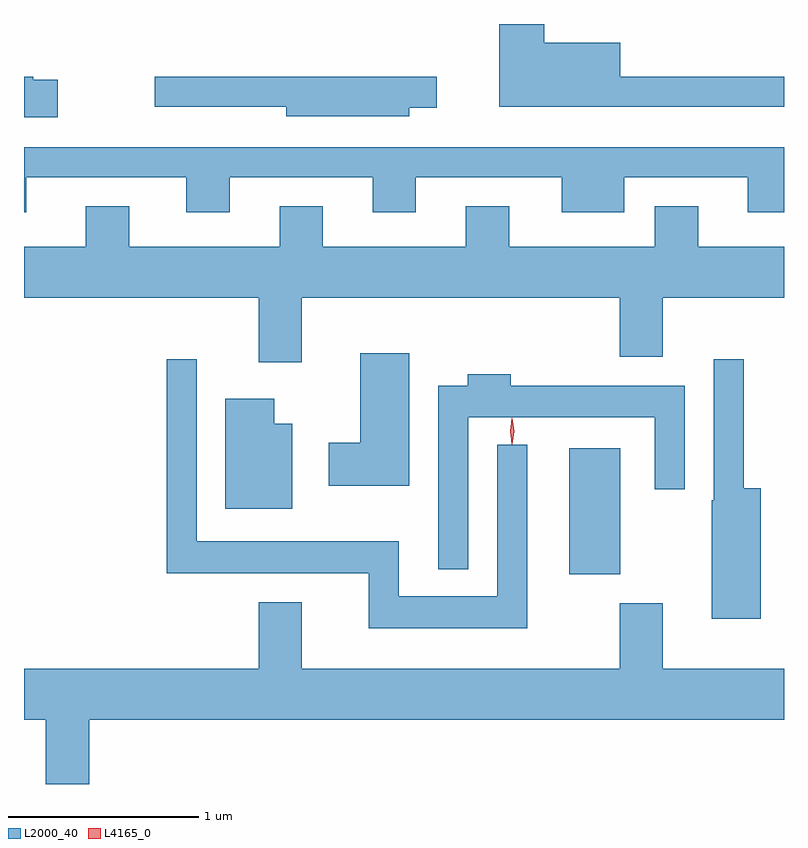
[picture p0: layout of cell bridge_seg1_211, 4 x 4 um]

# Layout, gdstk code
import gdstk
lib = gdstk.Library(unit=1e-6, precision=1e-09)
def R(c, l, rs):  # rectangles x0, y0, x1, y1
    for r in rs: c.add(gdstk.rectangle(r[:2], r[2:], *l))
def P(c, l, *ps):  # polygons
    for p in ps: c.add(gdstk.Polygon(p, *l))
L2000_40 = (2000, 40)
L4165_0 = (4165, 0)

bridge_seg1_211 = lib.new_cell('bridge_seg1_211')
R(bridge_seg1_211, L2000_40, [(837.966,875.921,838.234,876.584)])
P(bridge_seg1_211, L2000_40, [(839.096,878.539),(838.234,878.539),(838.234,878.719),(837.834,878.719),(837.834,878.817),(837.596,878.817),(837.596,878.381),(839.096,878.381)],
  [(837.124,878.376),(837.268,878.376),(837.268,878.539),(835.783,878.539),(835.783,878.381),(836.476,878.381),(836.476,878.331),(837.124,878.331)],
  [(835.274,878.524),(835.145,878.524),(835.145,878.539),(835.096,878.539),(835.096,878.326),(835.274,878.326)],
  [(835.109,878.011),(835.951,878.011),(835.951,877.826),(836.179,877.826),(836.179,878.011),(836.931,878.011),(836.931,877.826),(837.159,877.826),(837.159,878.011),(837.926,878.011),(837.926,877.826),(838.254,877.826),(838.254,878.011),(838.906,878.011),(838.906,877.826),(839.096,877.826),(839.096,878.169),(835.096,878.169),(835.096,877.826),(835.109,877.826)],
  [(836.559,877.376),(838.231,877.376),(838.231,877.066),(838.459,877.066),(838.459,877.376),(839.096,877.376),(839.096,877.644),(838.644,877.644),(838.644,877.859),(838.416,877.859),(838.416,877.644),(837.649,877.644),(837.649,877.859),(837.421,877.859),(837.421,877.644),(836.669,877.644),(836.669,877.859),(836.441,877.859),(836.441,877.644),(835.649,877.644),(835.649,877.859),(835.421,877.859),(835.421,877.644),(835.096,877.644),(835.096,877.376),(836.331,877.376),(836.331,877.036),(836.559,877.036)],
  [(837.124,877.084),(836.866,877.084),(836.866,876.614),(836.701,876.614),(836.701,876.386),(837.124,876.386)],
  [(837.744,876.603),(837.586,876.603),(837.586,875.804),(837.069,875.804),(837.069,876.094),(836.004,876.094),(836.004,877.053),(835.846,877.053),(835.846,875.926),(836.911,875.926),(836.911,875.636),(837.744,875.636)],
  [(838.974,876.374),(838.884,876.374),(838.884,877.053),(838.726,877.053),(838.726,876.31),(838.716,876.31),(838.716,875.686),(838.974,875.686)],
  [(837.434,876.746),(838.416,876.746),(838.416,876.368),(838.574,876.368),(838.574,876.914),(837.659,876.914),(837.659,876.974),(837.431,876.974),(837.431,876.914),(837.276,876.914),(837.276,875.948),(837.434,875.948)],
  [(836.509,876.714),(836.414,876.714),(836.414,876.844),(836.156,876.844),(836.156,876.266),(836.509,876.266)],
  [(835.439,875.156),(839.096,875.156),(839.096,875.424),(838.459,875.424),(838.459,875.769),(838.231,875.769),(838.231,875.424),(836.559,875.424),(836.559,875.774),(836.331,875.774),(836.331,875.424),(835.096,875.424),(835.096,875.156),(835.211,875.156),(835.211,874.817),(835.439,874.817)])
P(bridge_seg1_211, L4165_0, [(837.664,876.604),(837.655,876.673),(837.664,876.742),(837.665,876.743),(837.666,876.742),(837.675,876.673),(837.666,876.604),(837.665,876.604)],
  [(837.666,876.607),(837.666,876.608),(837.656,876.674),(837.666,876.74),(837.666,876.74),(837.667,876.74),(837.676,876.674),(837.667,876.608)])

lib.write_gds('bridge_seg1_211.gds')
